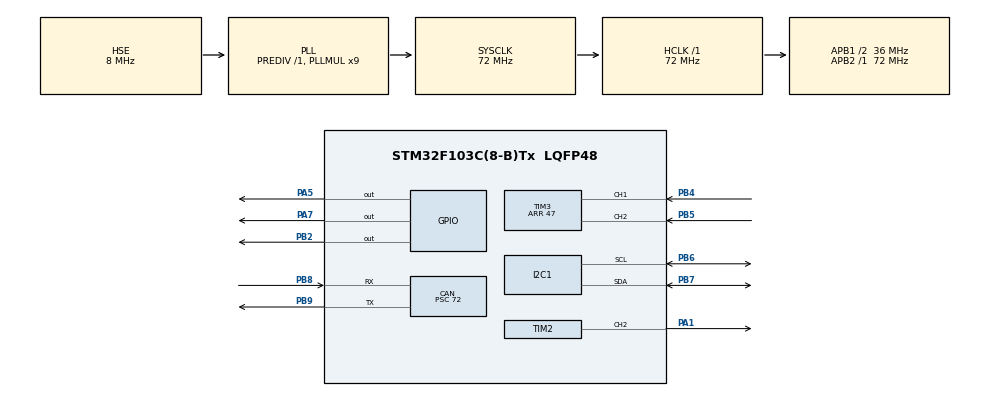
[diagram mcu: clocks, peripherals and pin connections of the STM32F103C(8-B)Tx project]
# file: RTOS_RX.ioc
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CAN.BS1=CAN_BS1_2TQ
CAN.CalculateBaudRate=125000
CAN.CalculateTimeBit=8000
CAN.CalculateTimeQuantum=2000.0
CAN.Prescaler=72
FREERTOS.Tasks01=defaultTask,0,128,StartDefaultTask,Default,NULL,Dynamic,NULL,NULL;Task02,0,128,Task02_,Default,NULL,Dynamic,NULL,NULL
FREERTOS.configUSE_NEWLIB_REENTRANT=1
I2C1.I2C_Mode=I2C_Fast
Mcu.Family=STM32F1
Mcu.Name=STM32F103C(8-B)Tx
Mcu.Package=LQFP48
NVIC.CAN1_RX1_IRQn=true\:5\:0\:false\:false\:true\:true\:true\:true\:true
NVIC.PriorityGroup=NVIC_PRIORITYGROUP_4
NVIC.TIM1_UP_IRQn=true\:15\:0\:false\:false\:true\:false\:false\:true\:true
NVIC.TimeBase=TIM1_UP_IRQn
NVIC.TimeBaseIP=TIM1
PA1.Signal=S_TIM2_CH2
PA13.Mode=Serial_Wire
PA13.Signal=SYS_JTMS-SWDIO
PA14.Mode=Serial_Wire
PA14.Signal=SYS_JTCK-SWCLK
PA5.Signal=GPIO_Output
PA7.Signal=GPIO_Output
PB2.Signal=GPIO_Output
PB4.Signal=S_TIM3_CH1
PB5.Signal=S_TIM3_CH2
PB6.Mode=I2C
PB6.Signal=I2C1_SCL
PB7.Mode=I2C
PB7.Signal=I2C1_SDA
PB8.Mode=CAN_Activate
PB8.Signal=CAN_RX
PB9.Mode=CAN_Activate
PB9.Signal=CAN_TX
PD0-OSC_IN.Mode=HSE-External-Oscillator
PD0-OSC_IN.Signal=RCC_OSC_IN
PD1-OSC_OUT.Mode=HSE-External-Oscillator
PD1-OSC_OUT.Signal=RCC_OSC_OUT
ProjectManager.HeapSize=0x200
ProjectManager.StackSize=0x400
ProjectManager.TargetToolchain=STM32CubeIDE
RCC.AHBFreq_Value=72000000
RCC.APB1CLKDivider=RCC_HCLK_DIV2
RCC.APB1Freq_Value=36000000
RCC.APB1TimFreq_Value=72000000
RCC.APB2Freq_Value=72000000
RCC.APB2TimFreq_Value=72000000
RCC.HCLKFreq_Value=72000000
RCC.PLLMUL=RCC_PLL_MUL9
RCC.PLLSourceVirtual=RCC_PLLSOURCE_HSE
RCC.SYSCLKFreq_VALUE=72000000
RCC.SYSCLKSource=RCC_SYSCLKSOURCE_PLLCLK
RCC.USBFreq_Value=72000000
SH.S_TIM2_CH2.0=TIM2_CH2,PWM Generation2 CH2
SH.S_TIM3_CH1.0=TIM3_CH1,Encoder_Interface
SH.S_TIM3_CH2.0=TIM3_CH2,Encoder_Interface
TIM2.Channel-PWM\ Generation2\ CH2=TIM_CHANNEL_2
TIM2.Period=625
TIM2.Prescaler=127
TIM3.EncoderMode=TIM_ENCODERMODE_TI12
TIM3.Period=47
VP_FREERTOS_VS_CMSIS_V1.Mode=CMSIS_V1
VP_SYS_VS_tim1.Mode=TIM1
VP_TIM2_VS_ClockSourceINT.Mode=Internal
board=custom

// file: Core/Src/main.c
/* USER CODE BEGIN Header */
/**
  ******************************************************************************
  * @file           : main.c
  * @brief          : Main program body
  ******************************************************************************
  * @attention
  *
  * Copyright (c) 2025 STMicroelectronics.
  * All rights reserved.
  *
  * This software is licensed under terms that can be found in the LICENSE file
  * in the root directory of this software component.
  * If no LICENSE file comes with this software, it is provided AS-IS.
  *
  ******************************************************************************
  */
/* USER CODE END Header */
#include "main.h"

/* USER CODE BEGIN Includes */
#include "FreeRTOS.h"
#include "task.h"
//#include "timers.h"
//#include "queue.h"
#include "semphr.h"
//#include "event_groups.h"

#include "fonts.h"
#include "ssd1306.h"

#include "stdio.h"
/* USER CODE END Includes */

CAN_HandleTypeDef hcan;

I2C_HandleTypeDef hi2c1;

TIM_HandleTypeDef htim2;
TIM_HandleTypeDef htim3;

void SystemClock_Config(void);
static void MX_GPIO_Init(void);
static void MX_CAN_Init(void);
static void MX_I2C1_Init(void);
static void MX_TIM2_Init(void);
static void MX_TIM3_Init(void);

/* USER CODE BEGIN 0 */
CAN_FilterTypeDef sFilterConfig;
CAN_RxHeaderTypeDef RxHeader;
uint8_t RxData[8];
volatile uint8_t signal_control;
int current_angle;
int desire_angle;
int debug;
#define speed 625
void HAL_CAN_RxFifo1MsgPendingCallback(CAN_HandleTypeDef *hcan)
{
  HAL_CAN_GetRxMessage(hcan, CAN_RX_FIFO1, &RxHeader, RxData);
  signal_control = RxData[7];
}

SemaphoreHandle_t DesireAngleMutex;

TaskHandle_t ControlMotor_Handler;
TaskHandle_t Display_Handler;
TaskHandle_t ReadEncoder_Handler;
TaskHandle_t ToggleLED_Handler;

void Task_ControlMotor (void *argument);
void Task_Display (void *argument);
void Task_ReadEncoder (void *argument);
void Task_ToggleLED (void *argument);

/* USER CODE END 0 */

int main(void)
{

  /* MCU Configuration--------------------------------------------------------*/

  /* Reset of all peripherals, Initializes the Flash interface and the Systick. */
  HAL_Init();

  /* Configure the system clock */
  SystemClock_Config();

  /* Initialize all configured peripherals */
  MX_GPIO_Init();
  MX_CAN_Init();
  MX_I2C1_Init();
  MX_TIM2_Init();
  MX_TIM3_Init();
  /* USER CODE BEGIN 2 */

  // Init CAN
  HAL_CAN_Start(&hcan);
  // Configure the filter
  sFilterConfig.FilterActivation = CAN_FILTER_ENABLE;
  sFilterConfig.FilterFIFOAssignment = CAN_FILTER_FIFO1;
  sFilterConfig.FilterMode = CAN_FILTERMODE_IDMASK;
  sFilterConfig.FilterIdHigh = 0x6A5<<5;
  sFilterConfig.FilterIdLow = 0;
  sFilterConfig.FilterMaskIdHigh = 0x7FF<<5; // SET 0 to unfilter
  sFilterConfig.FilterMaskIdLow = 0;
  sFilterConfig.FilterScale = CAN_FILTERSCALE_32BIT;
  HAL_CAN_ConfigFilter(&hcan, &sFilterConfig);
  // Activate the notification
  HAL_CAN_ActivateNotification(&hcan, CAN_IT_RX_FIFO1_MSG_PENDING);

  // Motor
  HAL_TIM_PWM_Start(&htim2, TIM_CHANNEL_2); //PA1 TIM2 CH2
  HAL_GPIO_WritePin(GPIOA, GPIO_PIN_7, 0);
  HAL_GPIO_WritePin(GPIOA, GPIO_PIN_5, 0);

  // Encoder
  HAL_TIM_Encoder_Start(&htim3, TIM_CHANNEL_ALL);

  // Init Oled
  SSD1306_Init();

  SSD1306_GotoXY (0,0);
  SSD1306_Puts ("Current:", &Font_11x18, 1);
  SSD1306_GotoXY (0, 30);
  SSD1306_Puts ("Desired:", &Font_11x18, 1);
  SSD1306_UpdateScreen();

  // create task
  DesireAngleMutex = xSemaphoreCreateMutex();
  if (DesireAngleMutex != NULL)
  {
   debug = 1000;
  }

  xTaskCreate(Task_ControlMotor, "ControlMotor", 128, NULL, 1, &ControlMotor_Handler);
  xTaskCreate(Task_Display, "Display", 128, NULL, 2, &Display_Handler);
  xTaskCreate(Task_ReadEncoder, "EncoderRead", 128, NULL, 3, &ReadEncoder_Handler);
  xTaskCreate(Task_ToggleLED, "ToggleLED", 128, NULL, 1, &ToggleLED_Handler);

  vTaskStartScheduler();

  /* USER CODE END 2 */

  /* Infinite loop */
  while (1)
  {

  }
}

void SystemClock_Config(void)
{
  RCC_OscInitTypeDef RCC_OscInitStruct = {0};
  RCC_ClkInitTypeDef RCC_ClkInitStruct = {0};

  /** Initializes the RCC Oscillators according to the specified parameters
  * in the RCC_OscInitTypeDef structure.
  */
  RCC_OscInitStruct.OscillatorType = RCC_OSCILLATORTYPE_HSE;
  RCC_OscInitStruct.HSEState = RCC_HSE_ON;
  RCC_OscInitStruct.HSEPredivValue = RCC_HSE_PREDIV_DIV1;
  RCC_OscInitStruct.HSIState = RCC_HSI_ON;
  RCC_OscInitStruct.PLL.PLLState = RCC_PLL_ON;
  RCC_OscInitStruct.PLL.PLLSource = RCC_PLLSOURCE_HSE;
  RCC_OscInitStruct.PLL.PLLMUL = RCC_PLL_MUL9;
  if (HAL_RCC_OscConfig(&RCC_OscInitStruct) != HAL_OK)
  {
    Error_Handler();
  }

  /** Initializes the CPU, AHB and APB buses clocks
  */
  RCC_ClkInitStruct.ClockType = RCC_CLOCKTYPE_HCLK|RCC_CLOCKTYPE_SYSCLK
                              |RCC_CLOCKTYPE_PCLK1|RCC_CLOCKTYPE_PCLK2;
  RCC_ClkInitStruct.SYSCLKSource = RCC_SYSCLKSOURCE_PLLCLK;
  RCC_ClkInitStruct.AHBCLKDivider = RCC_SYSCLK_DIV1;
  RCC_ClkInitStruct.APB1CLKDivider = RCC_HCLK_DIV2;
  RCC_ClkInitStruct.APB2CLKDivider = RCC_HCLK_DIV1;

  if (HAL_RCC_ClockConfig(&RCC_ClkInitStruct, FLASH_LATENCY_2) != HAL_OK)
  {
    Error_Handler();
  }
}

static void MX_CAN_Init(void)
{

  hcan.Instance = CAN1;
  hcan.Init.Prescaler = 72;
  hcan.Init.Mode = CAN_MODE_NORMAL;
  hcan.Init.SyncJumpWidth = CAN_SJW_1TQ;
  hcan.Init.TimeSeg1 = CAN_BS1_2TQ;
  hcan.Init.TimeSeg2 = CAN_BS2_1TQ;
  hcan.Init.TimeTriggeredMode = DISABLE;
  hcan.Init.AutoBusOff = DISABLE;
  hcan.Init.AutoWakeUp = DISABLE;
  hcan.Init.AutoRetransmission = DISABLE;
  hcan.Init.ReceiveFifoLocked = DISABLE;
  hcan.Init.TransmitFifoPriority = DISABLE;
  if (HAL_CAN_Init(&hcan) != HAL_OK)
  {
    Error_Handler();
  }

}

static void MX_I2C1_Init(void)
{

  hi2c1.Instance = I2C1;
  hi2c1.Init.ClockSpeed = 400000;
  hi2c1.Init.DutyCycle = I2C_DUTYCYCLE_2;
  hi2c1.Init.OwnAddress1 = 0;
  hi2c1.Init.AddressingMode = I2C_ADDRESSINGMODE_7BIT;
  hi2c1.Init.DualAddressMode = I2C_DUALADDRESS_DISABLE;
  hi2c1.Init.OwnAddress2 = 0;
  hi2c1.Init.GeneralCallMode = I2C_GENERALCALL_DISABLE;
  hi2c1.Init.NoStretchMode = I2C_NOSTRETCH_DISABLE;
  if (HAL_I2C_Init(&hi2c1) != HAL_OK)
  {
    Error_Handler();
  }

}

static void MX_TIM2_Init(void)
{

  TIM_ClockConfigTypeDef sClockSourceConfig = {0};
  TIM_MasterConfigTypeDef sMasterConfig = {0};
  TIM_OC_InitTypeDef sConfigOC = {0};

  htim2.Instance = TIM2;
  htim2.Init.Prescaler = 127;
  htim2.Init.CounterMode = TIM_COUNTERMODE_UP;
  htim2.Init.Period = 625;
  htim2.Init.ClockDivision = TIM_CLOCKDIVISION_DIV1;
  htim2.Init.AutoReloadPreload = TIM_AUTORELOAD_PRELOAD_DISABLE;
  if (HAL_TIM_Base_Init(&htim2) != HAL_OK)
  {
    Error_Handler();
  }
  sClockSourceConfig.ClockSource = TIM_CLOCKSOURCE_INTERNAL;
  if (HAL_TIM_ConfigClockSource(&htim2, &sClockSourceConfig) != HAL_OK)
  {
    Error_Handler();
  }
  if (HAL_TIM_PWM_Init(&htim2) != HAL_OK)
  {
    Error_Handler();
  }
  sMasterConfig.MasterOutputTrigger = TIM_TRGO_RESET;
  sMasterConfig.MasterSlaveMode = TIM_MASTERSLAVEMODE_DISABLE;
  if (HAL_TIMEx_MasterConfigSynchronization(&htim2, &sMasterConfig) != HAL_OK)
  {
    Error_Handler();
  }
  sConfigOC.OCMode = TIM_OCMODE_PWM1;
  sConfigOC.Pulse = 0;
  sConfigOC.OCPolarity = TIM_OCPOLARITY_HIGH;
  sConfigOC.OCFastMode = TIM_OCFAST_DISABLE;
  if (HAL_TIM_PWM_ConfigChannel(&htim2, &sConfigOC, TIM_CHANNEL_2) != HAL_OK)
  {
    Error_Handler();
  }
  HAL_TIM_MspPostInit(&htim2);

}

static void MX_TIM3_Init(void)
{

  TIM_Encoder_InitTypeDef sConfig = {0};
  TIM_MasterConfigTypeDef sMasterConfig = {0};

  htim3.Instance = TIM3;
  htim3.Init.Prescaler = 0;
  htim3.Init.CounterMode = TIM_COUNTERMODE_UP;
  htim3.Init.Period = 47;
  htim3.Init.ClockDivision = TIM_CLOCKDIVISION_DIV1;
  htim3.Init.AutoReloadPreload = TIM_AUTORELOAD_PRELOAD_DISABLE;
  sConfig.EncoderMode = TIM_ENCODERMODE_TI12;
  sConfig.IC1Polarity = TIM_ICPOLARITY_RISING;
  sConfig.IC1Selection = TIM_ICSELECTION_DIRECTTI;
  sConfig.IC1Prescaler = TIM_ICPSC_DIV1;
  sConfig.IC1Filter = 0;
  sConfig.IC2Polarity = TIM_ICPOLARITY_RISING;
  sConfig.IC2Selection = TIM_ICSELECTION_DIRECTTI;
  sConfig.IC2Prescaler = TIM_ICPSC_DIV1;
  sConfig.IC2Filter = 0;
  if (HAL_TIM_Encoder_Init(&htim3, &sConfig) != HAL_OK)
  {
    Error_Handler();
  }
  sMasterConfig.MasterOutputTrigger = TIM_TRGO_RESET;
  sMasterConfig.MasterSlaveMode = TIM_MASTERSLAVEMODE_DISABLE;
  if (HAL_TIMEx_MasterConfigSynchronization(&htim3, &sMasterConfig) != HAL_OK)
  {
    Error_Handler();
  }

}

static void MX_GPIO_Init(void)
{
  GPIO_InitTypeDef GPIO_InitStruct = {0};

  /* GPIO Ports Clock Enable */
  __HAL_RCC_GPIOD_CLK_ENABLE();
  __HAL_RCC_GPIOA_CLK_ENABLE();
  __HAL_RCC_GPIOB_CLK_ENABLE();

  /*Configure GPIO pin Output Level */
  HAL_GPIO_WritePin(GPIOA, GPIO_PIN_5|GPIO_PIN_7, GPIO_PIN_RESET);

  /*Configure GPIO pin Output Level */
  HAL_GPIO_WritePin(GPIOB, GPIO_PIN_2, GPIO_PIN_RESET);

  /*Configure GPIO pins : PA5 PA7 */
  GPIO_InitStruct.Pin = GPIO_PIN_5|GPIO_PIN_7;
  GPIO_InitStruct.Mode = GPIO_MODE_OUTPUT_PP;
  GPIO_InitStruct.Pull = GPIO_NOPULL;
  GPIO_InitStruct.Speed = GPIO_SPEED_FREQ_LOW;
  HAL_GPIO_Init(GPIOA, &GPIO_InitStruct);

  /*Configure GPIO pin : PB2 */
  GPIO_InitStruct.Pin = GPIO_PIN_2;
  GPIO_InitStruct.Mode = GPIO_MODE_OUTPUT_PP;
  GPIO_InitStruct.Pull = GPIO_NOPULL;
  GPIO_InitStruct.Speed = GPIO_SPEED_FREQ_LOW;
  HAL_GPIO_Init(GPIOB, &GPIO_InitStruct);

}

/* USER CODE BEGIN 4 */
//define task
void Task_ControlMotor(void *argument){
	int threshold = 10;
	int error;
	while(1){
		xSemaphoreTake(DesireAngleMutex, portMAX_DELAY);
		error = desire_angle - current_angle;

		if (abs(error) > threshold){
			if (error > 0){
				// Quay phải
				HAL_GPIO_WritePin(GPIOA, GPIO_PIN_5, GPIO_PIN_RESET); // IN1 = 0
				HAL_GPIO_WritePin(GPIOA, GPIO_PIN_7, GPIO_PIN_SET);   // IN2 = 1
			}
			else {
				// Quay trái
				HAL_GPIO_WritePin(GPIOA, GPIO_PIN_5, GPIO_PIN_SET);
				HAL_GPIO_WritePin(GPIOA, GPIO_PIN_7, GPIO_PIN_RESET);
			}
			__HAL_TIM_SET_COMPARE(&htim2, TIM_CHANNEL_2, speed);
		}
		else {
			// Dừng motor
			HAL_GPIO_WritePin(GPIOA, GPIO_PIN_5, GPIO_PIN_RESET);
			HAL_GPIO_WritePin(GPIOA, GPIO_PIN_7, GPIO_PIN_RESET);
			__HAL_TIM_SET_COMPARE(&htim2, TIM_CHANNEL_2, 0);
		}

		xSemaphoreGive(DesireAngleMutex);
		vTaskDelay(100);
	}
}
void Task_Display(void *argument)
{
	char snum[5];
	char snum2[5];
	while(1){
		  sprintf(snum, "%03d", current_angle);
		  sprintf(snum2, "%03d", desire_angle);
		  SSD1306_GotoXY (90,0);
		  SSD1306_Puts (snum, &Font_11x18, 1);
		  SSD1306_GotoXY (90, 30);
		  SSD1306_Puts (snum2, &Font_11x18, 1);
		  SSD1306_UpdateScreen();
		  vTaskDelay(1000);
	}
}

void Task_ReadEncoder(void *argument)
{
    while (1)
    {
    	desire_angle = (signal_control*90)/255;
    	xSemaphoreTake(DesireAngleMutex, portMAX_DELAY);
    	uint16_t position = __HAL_TIM_GET_COUNTER(&htim3);
    	current_angle = (position * 360) / 47;
        xSemaphoreGive(DesireAngleMutex);
        vTaskDelay(100); // đọc mỗi 100ms
    }
}

void Task_ToggleLED(void *argument){
	while(1){
		HAL_GPIO_TogglePin(GPIOB, GPIO_PIN_2);
		vTaskDelay(debug);
	}
}

/* USER CODE END 4 */

void HAL_TIM_PeriodElapsedCallback(TIM_HandleTypeDef *htim)
{
  if (htim->Instance == TIM1)
  {
    HAL_IncTick();
  }
}

void Error_Handler(void)
{
  __disable_irq();
  while (1)
  {
  }
}
